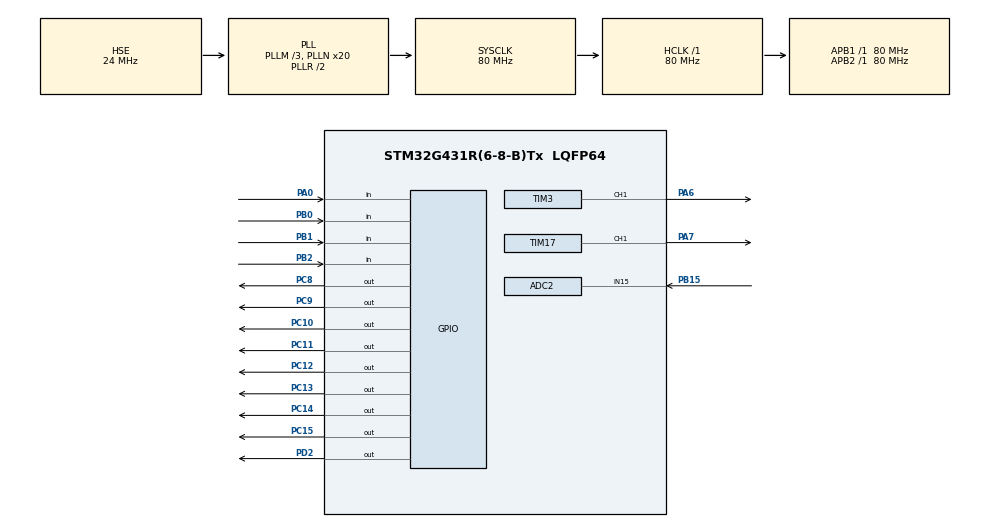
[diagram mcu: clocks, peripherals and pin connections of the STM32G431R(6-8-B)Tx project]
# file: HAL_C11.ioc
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ADC2.Channel-0\#ChannelRegularConversion=ADC_CHANNEL_15
ADC2.NbrOfConversionFlag=1
ADC2.OffsetNumber-0\#ChannelRegularConversion=ADC_OFFSET_NONE
ADC2.Rank-0\#ChannelRegularConversion=1
ADC2.SamplingTime-0\#ChannelRegularConversion=ADC_SAMPLETIME_640CYCLES_5
Mcu.Family=STM32G4
Mcu.Name=STM32G431R(6-8-B)Tx
Mcu.Package=LQFP64
NVIC.PriorityGroup=NVIC_PRIORITYGROUP_4
PA0.Signal=GPIO_Input
PA6.Signal=S_TIM3_CH1
PA7.Signal=S_TIM17_CH1
PB0.Signal=GPIO_Input
PB1.Signal=GPIO_Input
PB15.Mode=IN15-Single-Ended
PB15.Signal=ADC2_IN15
PB2.Signal=GPIO_Input
PC10.PinState=GPIO_PIN_SET
PC10.Signal=GPIO_Output
PC11.PinState=GPIO_PIN_SET
PC11.Signal=GPIO_Output
PC12.PinState=GPIO_PIN_SET
PC12.Signal=GPIO_Output
PC13.PinState=GPIO_PIN_SET
PC13.Signal=GPIO_Output
PC14-OSC32_IN.PinState=GPIO_PIN_SET
PC14-OSC32_IN.Signal=GPIO_Output
PC15-OSC32_OUT.PinState=GPIO_PIN_SET
PC15-OSC32_OUT.Signal=GPIO_Output
PC8.PinState=GPIO_PIN_SET
PC8.Signal=GPIO_Output
PC9.PinState=GPIO_PIN_SET
PC9.Signal=GPIO_Output
PD2.Signal=GPIO_Output
PF0-OSC_IN.Mode=HSE-External-Oscillator
PF0-OSC_IN.Signal=RCC_OSC_IN
PF1-OSC_OUT.Mode=HSE-External-Oscillator
PF1-OSC_OUT.Signal=RCC_OSC_OUT
ProjectManager.HeapSize=0x200
ProjectManager.StackSize=0x400
ProjectManager.TargetToolchain=MDK-ARM V5.27
RCC.ADC12Freq_Value=80000000
RCC.AHBFreq_Value=80000000
RCC.APB1Freq_Value=80000000
RCC.APB1TimFreq_Value=80000000
RCC.APB2Freq_Value=80000000
RCC.APB2TimFreq_Value=80000000
RCC.CortexFreq_Value=80000000
RCC.EXTERNAL_CLOCK_VALUE=12288000
RCC.HCLKFreq_Value=80000000
RCC.HSE_VALUE=24000000
RCC.HSI48_VALUE=48000000
RCC.HSI_VALUE=16000000
RCC.LSE_VALUE=32768
RCC.PLLM=RCC_PLLM_DIV3
RCC.PLLN=20
RCC.PLLSourceVirtual=RCC_PLLSOURCE_HSE
RCC.SYSCLKFreq_VALUE=80000000
RCC.SYSCLKSource=RCC_SYSCLKSOURCE_PLLCLK
RCC.USBFreq_Value=80000000
RCC.VCOOutputFreq_Value=160000000
SH.S_TIM17_CH1.0=TIM17_CH1,PWM Generation1 CH1
SH.S_TIM3_CH1.0=TIM3_CH1,PWM Generation1 CH1
TIM17.AutoReloadPreload=TIM_AUTORELOAD_PRELOAD_ENABLE
TIM17.Channel=TIM_CHANNEL_1
TIM17.PeriodNoDither=999
TIM17.Prescaler=39
TIM17.PulseNoDither_1=100
TIM3.AutoReloadPreload=TIM_AUTORELOAD_PRELOAD_ENABLE
TIM3.Channel-PWM\ Generation1\ CH1=TIM_CHANNEL_1
TIM3.Channel-PWM\ Generation2\ CH2=TIM_CHANNEL_2
TIM3.PeriodNoDither=999
TIM3.Prescaler=79
TIM3.PulseNoDither_1=100
VP_SYS_VS_DBSignals.Mode=DisableDeadBatterySignals
VP_TIM17_VS_ClockSourceINT.Mode=Enable_Timer
VP_TIM3_VS_ClockSourceINT.Mode=Internal
board=custom

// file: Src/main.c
/* USER CODE BEGIN Header */
/**
  ******************************************************************************
  * @file           : main.c
  * @brief          : Main program body
  ******************************************************************************
  * @attention
  *
  * <h2><center>&copy; Copyright (c) 2024 STMicroelectronics.
  * All rights reserved.</center></h2>
  *
  * This software component is licensed by ST under BSD 3-Clause license,
  * the "License"; You may not use this file except in compliance with the
  * License. You may obtain a copy of the License at:
  *                        opensource.org/licenses/BSD-3-Clause
  *
  ******************************************************************************
  */
/* USER CODE END Header */

#include "main.h"
#include "adc.h"
#include "tim.h"
#include "gpio.h"

/* USER CODE BEGIN Includes */
#include "lcd_hal.h"
#include <stdio.h>
#include "led.h"
/* USER CODE END Includes */

/* USER CODE BEGIN PTD */
typedef enum
{
	Key_Check,
	Key_Press,
	Key_Release,
	Key_Over
}Key_State;
typedef enum
{
	Auto,
	Manual
}mode;
/* USER CODE END PTD */

/* USER CODE BEGIN PD */
#define K1 HAL_GPIO_ReadPin(GPIOB, GPIO_PIN_0)
#define K2 HAL_GPIO_ReadPin(GPIOB, GPIO_PIN_1)
#define K3 HAL_GPIO_ReadPin(GPIOB, GPIO_PIN_2)
#define K4 HAL_GPIO_ReadPin(GPIOA, GPIO_PIN_0)

#define Press GPIO_PIN_RESET
#define Release GPIO_PIN_SET
/* USER CODE END PD */

/* USER CODE BEGIN PV */
Key_State KeyState = Key_Check;
uint8_t KeyNum;
uint16_t Key_Press_Time = 20;

uint8_t Str[20];

float Duty_6 = 0.1f, Duty_7 = 0.1f;//0~1
mode Mode = Auto;

uint8_t Flag_Show_Select;
/* USER CODE END PV */

void SystemClock_Config(void);
/* USER CODE BEGIN PFP */
void LCD_Show(void);

/* USER CODE END PFP */

/* USER CODE BEGIN 0 */
float getADC_R37(void)
{
	uint16_t adc;
	HAL_ADC_Start(&hadc2);
	HAL_ADC_PollForConversion(&hadc2, 10);
	adc = HAL_ADC_GetValue(&hadc2);
	HAL_ADC_Stop(&hadc2);

	return (adc * 3.3f / 4096);
}
/* USER CODE END 0 */

int main(void)
{

  /* MCU Configuration--------------------------------------------------------*/

  /* Reset of all peripherals, Initializes the Flash interface and the Systick. */
  HAL_Init();

  /* Configure the system clock */
  SystemClock_Config();

  /* Initialize all configured peripherals */
  MX_GPIO_Init();
  MX_ADC2_Init();
  MX_TIM3_Init();
  MX_TIM17_Init();
  /* USER CODE BEGIN 2 */
  LED_Init();

  LCD_Init();
  LCD_Clear(Black);
  LCD_SetBackColor(Black);
  LCD_SetTextColor(White);

  HAL_TIM_PWM_Start_IT(&htim3, TIM_CHANNEL_1);
  __HAL_TIM_CLEAR_IT(&htim3, TIM_CHANNEL_1);
  HAL_TIM_PWM_Start_IT(&htim17, TIM_CHANNEL_1);
  __HAL_TIM_CLEAR_IT(&htim17, TIM_CHANNEL_1);
  __HAL_TIM_SET_COMPARE(&htim3, TIM_CHANNEL_1, 100);
  __HAL_TIM_SET_COMPARE(&htim17, TIM_CHANNEL_1, 100);

  /* USER CODE END 2 */

  /* Infinite loop */
  /* USER CODE BEGIN WHILE */
  while (1)
  {
	  if(KeyState == Key_Over)
	  {
		  KeyState = Key_Check;
		  if(KeyNum == 1)
		  {
			  Flag_Show_Select = !Flag_Show_Select;
		  }
		  else if(KeyNum == 2)
		  {
			  if(Flag_Show_Select == 1)
			  {
				  Duty_6 += 0.1f;
				  if(Duty_6 >= 1.0f)Duty_6 = 0.1f;
			  }
		  }
		  else if(KeyNum == 3)
		  {
			  if(Flag_Show_Select == 1)
			  {
				  Duty_7 += 0.1f;
			      if(Duty_7 >= 1.0f)Duty_7 = 0.1f;
			  }
		  }
		  else if(KeyNum == 4)
		  {
			  if(Mode == Auto)Mode = Manual;
			  else Mode = Auto;
		  }
		  Key_Press_Time = 0;
	  }

	  if(Mode == Auto)
	  {
		  LED_ON(1);
		  __HAL_TIM_SET_COMPARE(&htim3, TIM_CHANNEL_1, (getADC_R37() / 3.3f) * 1000);
		  __HAL_TIM_SET_COMPARE(&htim17, TIM_CHANNEL_1, (getADC_R37() / 3.3f) * 1000);
	  }
	  else
	  {
		  LED_OFF(1);
		  __HAL_TIM_SET_COMPARE(&htim3, TIM_CHANNEL_1, Duty_6 * 1000);
		  __HAL_TIM_SET_COMPARE(&htim17, TIM_CHANNEL_1, Duty_7 * 1000);
	  }

	  LCD_Show();

    /* USER CODE END WHILE */

  }
}

void SystemClock_Config(void)
{
  RCC_OscInitTypeDef RCC_OscInitStruct = {0};
  RCC_ClkInitTypeDef RCC_ClkInitStruct = {0};
  RCC_PeriphCLKInitTypeDef PeriphClkInit = {0};

  /** Configure the main internal regulator output voltage
  */
  HAL_PWREx_ControlVoltageScaling(PWR_REGULATOR_VOLTAGE_SCALE1);
  /** Initializes the CPU, AHB and APB busses clocks
  */
  RCC_OscInitStruct.OscillatorType = RCC_OSCILLATORTYPE_HSE;
  RCC_OscInitStruct.HSEState = RCC_HSE_ON;
  RCC_OscInitStruct.PLL.PLLState = RCC_PLL_ON;
  RCC_OscInitStruct.PLL.PLLSource = RCC_PLLSOURCE_HSE;
  RCC_OscInitStruct.PLL.PLLM = RCC_PLLM_DIV3;
  RCC_OscInitStruct.PLL.PLLN = 20;
  RCC_OscInitStruct.PLL.PLLP = RCC_PLLP_DIV2;
  RCC_OscInitStruct.PLL.PLLQ = RCC_PLLQ_DIV2;
  RCC_OscInitStruct.PLL.PLLR = RCC_PLLR_DIV2;
  if (HAL_RCC_OscConfig(&RCC_OscInitStruct) != HAL_OK)
  {
    Error_Handler();
  }
  /** Initializes the CPU, AHB and APB busses clocks
  */
  RCC_ClkInitStruct.ClockType = RCC_CLOCKTYPE_HCLK|RCC_CLOCKTYPE_SYSCLK
                              |RCC_CLOCKTYPE_PCLK1|RCC_CLOCKTYPE_PCLK2;
  RCC_ClkInitStruct.SYSCLKSource = RCC_SYSCLKSOURCE_PLLCLK;
  RCC_ClkInitStruct.AHBCLKDivider = RCC_SYSCLK_DIV1;
  RCC_ClkInitStruct.APB1CLKDivider = RCC_HCLK_DIV1;
  RCC_ClkInitStruct.APB2CLKDivider = RCC_HCLK_DIV1;

  if (HAL_RCC_ClockConfig(&RCC_ClkInitStruct, FLASH_LATENCY_3) != HAL_OK)
  {
    Error_Handler();
  }
  /** Initializes the peripherals clocks
  */
  PeriphClkInit.PeriphClockSelection = RCC_PERIPHCLK_ADC12;
  PeriphClkInit.Adc12ClockSelection = RCC_ADC12CLKSOURCE_SYSCLK;
  if (HAL_RCCEx_PeriphCLKConfig(&PeriphClkInit) != HAL_OK)
  {
    Error_Handler();
  }
}

/* USER CODE BEGIN 4 */
void LCD_Show(void)
{
	if(Flag_Show_Select == 0)
	  {
		  LED_ON(2);
		  LCD_DisplayStringLine(Line0, (uint8_t *)"      Data");
		  LCD_DisplayStringLine(Line1, (uint8_t *)"                    ");
		  sprintf((char *)Str, "    V:%.2fV    ", getADC_R37());
		  LCD_DisplayStringLine(Line2, Str);
		  LCD_DisplayStringLine(Line3, (uint8_t *)"                    ");
		  if(Mode == Auto)LCD_DisplayStringLine(Line4, (uint8_t *)"    Mode:AUTO    ");
		  else LCD_DisplayStringLine(Line4, (uint8_t *)"    Mode:MANU    ");
		  LCD_DisplayStringLine(Line5, (uint8_t *)"                    ");
		  LCD_DisplayStringLine(Line6, (uint8_t *)"                    ");
		  LCD_DisplayStringLine(Line7, (uint8_t *)"                    ");
		  LCD_DisplayStringLine(Line8, (uint8_t *)"                    ");
		  LCD_DisplayStringLine(Line9, (uint8_t *)"                    ");
	  }
	  else
	  {
		  LED_OFF(2);
		  LCD_DisplayStringLine(Line0, (uint8_t *)"      Para");
		  LCD_DisplayStringLine(Line1, (uint8_t *)"                    ");
		  sprintf((char *)Str, "    PA6:%.0f%%  ", Duty_6 * 100.0f);
		  LCD_DisplayStringLine(Line2, Str);
		  LCD_DisplayStringLine(Line3, (uint8_t *)"                    ");
		  sprintf((char *)Str, "    PA7:%.0f%%     ", Duty_7 * 100.0f);
		  LCD_DisplayStringLine(Line4, Str);
		  LCD_DisplayStringLine(Line5, (uint8_t *)"                    ");
		  LCD_DisplayStringLine(Line6, (uint8_t *)"                    ");
		  LCD_DisplayStringLine(Line7, (uint8_t *)"                    ");
		  LCD_DisplayStringLine(Line8, (uint8_t *)"                    ");
		  LCD_DisplayStringLine(Line9, (uint8_t *)"                    ");
	  }
}
void Key_Scan(void)
{
	switch(KeyState)
	{
		case Key_Check:
		{
			if(K1 == Press || K2 == Press|| K3 == Press || K4 == Press)
			{
				KeyState = Key_Press;
			}
		}
		break;
		case Key_Press:
		{
			if(K1 == Press)KeyNum = 1;
			else if(K2 == Press)KeyNum = 2;
			else if(K3 == Press)KeyNum = 3;
			else if(K4 == Press)KeyNum = 4;
			KeyState = Key_Release;
		}
		break;
		case Key_Release:
		{
			if(K1 == Press || K2 == Press|| K3 == Press || K4 == Press)
			{
				Key_Press_Time += 10;
			}
			else
			{
				KeyState = Key_Over;
			}
		}
		break;
		default:
		break;
	}
}

/* USER CODE END 4 */

void Error_Handler(void)
{
}

/************************ (C) COPYRIGHT STMicroelectronics *****END OF FILE****/
